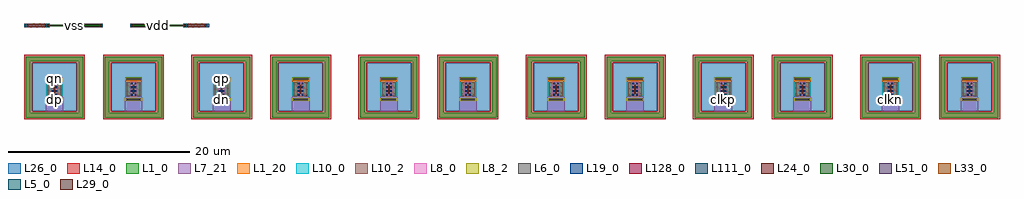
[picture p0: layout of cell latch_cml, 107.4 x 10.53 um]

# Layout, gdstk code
import gdstk
lib = gdstk.Library(unit=1e-6, precision=1e-09)
def R(c, l, rs):  # rectangles x0, y0, x1, y1
    for r in rs: c.add(gdstk.rectangle(r[:2], r[2:], *l))
def A(c, l, x, y, w, h, nx, ny, dx, dy):  # array of equal rectangles
    R(c, l, [(x+i*dx, y+j*dy, x+i*dx+w, y+j*dy+h) for i in range(nx) for j in range(ny)])
def P(c, l, *ps):  # polygons
    for p in ps: c.add(gdstk.Polygon(p, *l))
L1_0 = (1, 0)
L1_20 = (1, 20)
L5_0 = (5, 0)
L6_0 = (6, 0)
L7_21 = (7, 21)
L8_0 = (8, 0)
L8_2 = (8, 2)
L10_0 = (10, 0)
L10_2 = (10, 2)
L14_0 = (14, 0)
L19_0 = (19, 0)
L24_0 = (24, 0)
L26_0 = (26, 0)
L29_0 = (29, 0)
L30_0 = (30, 0)
L33_0 = (33, 0)
L51_0 = (51, 0)
L111_0 = (111, 0)
L128_0 = (128, 0)

npn13g2_base_cdns_675179 = lib.new_cell('npn13G2_base_CDNS_675179387640')
R(npn13g2_base_cdns_675179, L1_0, [(-0.925,-1.28,0.925,-0.98)])
P(npn13g2_base_cdns_675179, L1_20, [(-0.925,-0.98),(-0.925,0.62),(-0.445,0.62),(-0.235,0.83),(0.235,0.83),(0.445,0.62),(0.925,0.62),(0.925,-0.98)])
R(npn13g2_base_cdns_675179, L6_0, [(-0.825,-1.21,0.825,-1.05), (-0.76,1.06,0.76,1.22)])
P(npn13g2_base_cdns_675179, L7_21, [(-0.305,-0.94),(-0.555,-0.69),(-0.555,0.48),(-0.975,0.9),(-0.975,2.43),(0.975,2.43),(0.975,0.9),(0.555,0.48),(0.555,-0.69),(0.305,-0.94)])
R(npn13g2_base_cdns_675179, L8_0, [(-0.925,-1.25,0.925,-1.01), (-0.35,-0.77,0.35,0.785), (-0.975,1.02,0.975,1.26)])
R(npn13g2_base_cdns_675179, L10_0, [(-0.925,-0.77,0.925,0.785)])
A(npn13g2_base_cdns_675179, L19_0, -0.3, -0.7, 0.19, 0.19, 1, 4, 0, 0.41)
A(npn13g2_base_cdns_675179, L19_0, 0.11, -0.7, 0.19, 0.19, 1, 4, 0, 0.41)
R(npn13g2_base_cdns_675179, L33_0, [(-0.035,-0.45,0.035,0.45), (-0.035,-0.45,0.035,0.45)])
R(npn13g2_base_cdns_675179, L51_0, [(-0.085,-0.5,0.085,0.5)])
npn13g2_base_cdns_675179.add(gdstk.Label('npn13G2', (0.015,-2.31), layer=63, texttype=0))
npn13g2_base_cdns_675179.add(gdstk.Label('npn13G2_base', (0,0), layer=51, texttype=0))

npn13g2 = lib.new_cell('npn13G2')
P(npn13g2, L1_0, [(-3.15,-3.13),(-3.15,3.58),(2.65,3.58),(2.65,3.08),(-2.65,3.08),(-2.65,-2.63),(2.65,-2.63),(2.65,3.58),(3.15,3.58),(3.15,-3.13)])
R(npn13g2, L8_2, [(-0.965,-1.26,0.975,-1.02), (-0.915,1.01,0.925,1.25)])
R(npn13g2, L10_2, [(-0.745,-0.78,0.745,0.77)])
P(npn13g2, L14_0, [(-3.35,-3.33),(-3.35,3.78),(2.45,3.78),(2.45,2.88),(-2.45,2.88),(-2.45,-2.43),(2.45,-2.43),(2.45,3.78),(3.35,3.78),(3.35,-3.33)])
R(npn13g2, L26_0, [(-2.45,-2.43,2.45,2.88)])
npn13g2.add(gdstk.Reference(npn13g2_base_cdns_675179, (0,0), x_reflection=True))
npn13g2.add(gdstk.Label('Ae=1*1*0.07*0.90', (-1.977,-2.546), layer=63, texttype=0))
npn13g2.add(gdstk.Label('E', (0,-0.005), layer=63, texttype=0))
npn13g2.add(gdstk.Label('B', (0.005,-1.14), layer=63, texttype=0))
npn13g2.add(gdstk.Label('C', (0.005,1.13), layer=63, texttype=0))

xqs1__latch_cml_xqs1 = lib.new_cell('XQs1__latch_cml_XQs1')
xqs1__latch_cml_xqs1.add(gdstk.Reference(npn13g2, (3.35,3.33)))
xqs1__latch_cml_xqs1.add(gdstk.Reference(npn13g2, (12.05,3.33)))

c_npn13g2_base_cdns_675179 = lib.new_cell('npn13G2_base_CDNS_675179387640$1')
R(c_npn13g2_base_cdns_675179, L1_0, [(-0.925,-1.28,0.925,-0.98)])
P(c_npn13g2_base_cdns_675179, L1_20, [(-0.925,-0.98),(-0.925,0.62),(-0.445,0.62),(-0.235,0.83),(0.235,0.83),(0.445,0.62),(0.925,0.62),(0.925,-0.98)])
R(c_npn13g2_base_cdns_675179, L6_0, [(-0.825,-1.21,0.825,-1.05), (-0.76,1.06,0.76,1.22)])
P(c_npn13g2_base_cdns_675179, L7_21, [(-0.305,-0.94),(-0.555,-0.69),(-0.555,0.48),(-0.975,0.9),(-0.975,2.43),(0.975,2.43),(0.975,0.9),(0.555,0.48),(0.555,-0.69),(0.305,-0.94)])
R(c_npn13g2_base_cdns_675179, L8_0, [(-0.925,-1.25,0.925,-1.01), (-0.35,-0.77,0.35,0.785), (-0.975,1.02,0.975,1.26)])
R(c_npn13g2_base_cdns_675179, L10_0, [(-0.925,-0.77,0.925,0.785)])
A(c_npn13g2_base_cdns_675179, L19_0, -0.3, -0.7, 0.19, 0.19, 1, 4, 0, 0.41)
A(c_npn13g2_base_cdns_675179, L19_0, 0.11, -0.7, 0.19, 0.19, 1, 4, 0, 0.41)
R(c_npn13g2_base_cdns_675179, L33_0, [(-0.035,-0.45,0.035,0.45), (-0.035,-0.45,0.035,0.45)])
R(c_npn13g2_base_cdns_675179, L51_0, [(-0.085,-0.5,0.085,0.5)])
c_npn13g2_base_cdns_675179.add(gdstk.Label('npn13G2', (0.015,-2.31), layer=63, texttype=0))
c_npn13g2_base_cdns_675179.add(gdstk.Label('npn13G2_base', (0,0), layer=51, texttype=0))

npn13g2_1 = lib.new_cell('npn13G2$1')
P(npn13g2_1, L1_0, [(-3.15,-3.13),(-3.15,3.58),(2.65,3.58),(2.65,3.08),(-2.65,3.08),(-2.65,-2.63),(2.65,-2.63),(2.65,3.58),(3.15,3.58),(3.15,-3.13)])
R(npn13g2_1, L8_2, [(-0.965,-1.26,0.975,-1.02), (-0.915,1.01,0.925,1.25)])
R(npn13g2_1, L10_2, [(-0.745,-0.78,0.745,0.77)])
P(npn13g2_1, L14_0, [(-3.35,-3.33),(-3.35,3.78),(2.45,3.78),(2.45,2.88),(-2.45,2.88),(-2.45,-2.43),(2.45,-2.43),(2.45,3.78),(3.35,3.78),(3.35,-3.33)])
R(npn13g2_1, L26_0, [(-2.45,-2.43,2.45,2.88)])
npn13g2_1.add(gdstk.Reference(c_npn13g2_base_cdns_675179, (0,0), x_reflection=True))
npn13g2_1.add(gdstk.Label('Ae=1*1*0.07*0.90', (-1.977,-2.546), layer=63, texttype=0))
npn13g2_1.add(gdstk.Label('E', (0,-0.005), layer=63, texttype=0))
npn13g2_1.add(gdstk.Label('B', (0.005,-1.14), layer=63, texttype=0))
npn13g2_1.add(gdstk.Label('C', (0.005,1.13), layer=63, texttype=0))

xqs2__latch_cml_xqs2 = lib.new_cell('XQs2__latch_cml_XQs2')
xqs2__latch_cml_xqs2.add(gdstk.Reference(npn13g2_1, (3.35,3.33)))
xqs2__latch_cml_xqs2.add(gdstk.Reference(npn13g2_1, (12.05,3.33)))

c_npn13g2_base_cdns_675179_ = lib.new_cell('npn13G2_base_CDNS_675179387640$2')
R(c_npn13g2_base_cdns_675179_, L1_0, [(-0.925,-1.28,0.925,-0.98)])
P(c_npn13g2_base_cdns_675179_, L1_20, [(-0.925,-0.98),(-0.925,0.62),(-0.445,0.62),(-0.235,0.83),(0.235,0.83),(0.445,0.62),(0.925,0.62),(0.925,-0.98)])
R(c_npn13g2_base_cdns_675179_, L6_0, [(-0.825,-1.21,0.825,-1.05), (-0.76,1.06,0.76,1.22)])
P(c_npn13g2_base_cdns_675179_, L7_21, [(-0.305,-0.94),(-0.555,-0.69),(-0.555,0.48),(-0.975,0.9),(-0.975,2.43),(0.975,2.43),(0.975,0.9),(0.555,0.48),(0.555,-0.69),(0.305,-0.94)])
R(c_npn13g2_base_cdns_675179_, L8_0, [(-0.925,-1.25,0.925,-1.01), (-0.35,-0.77,0.35,0.785), (-0.975,1.02,0.975,1.26)])
R(c_npn13g2_base_cdns_675179_, L10_0, [(-0.925,-0.77,0.925,0.785)])
A(c_npn13g2_base_cdns_675179_, L19_0, -0.3, -0.7, 0.19, 0.19, 1, 4, 0, 0.41)
A(c_npn13g2_base_cdns_675179_, L19_0, 0.11, -0.7, 0.19, 0.19, 1, 4, 0, 0.41)
R(c_npn13g2_base_cdns_675179_, L33_0, [(-0.035,-0.45,0.035,0.45), (-0.035,-0.45,0.035,0.45)])
R(c_npn13g2_base_cdns_675179_, L51_0, [(-0.085,-0.5,0.085,0.5)])
c_npn13g2_base_cdns_675179_.add(gdstk.Label('npn13G2', (0.015,-2.31), layer=63, texttype=0))
c_npn13g2_base_cdns_675179_.add(gdstk.Label('npn13G2_base', (0,0), layer=51, texttype=0))

npn13g2_2 = lib.new_cell('npn13G2$2')
P(npn13g2_2, L1_0, [(-3.15,-3.13),(-3.15,3.58),(2.65,3.58),(2.65,3.08),(-2.65,3.08),(-2.65,-2.63),(2.65,-2.63),(2.65,3.58),(3.15,3.58),(3.15,-3.13)])
R(npn13g2_2, L8_2, [(-0.965,-1.26,0.975,-1.02), (-0.915,1.01,0.925,1.25)])
R(npn13g2_2, L10_2, [(-0.745,-0.78,0.745,0.77)])
P(npn13g2_2, L14_0, [(-3.35,-3.33),(-3.35,3.78),(2.45,3.78),(2.45,2.88),(-2.45,2.88),(-2.45,-2.43),(2.45,-2.43),(2.45,3.78),(3.35,3.78),(3.35,-3.33)])
R(npn13g2_2, L26_0, [(-2.45,-2.43,2.45,2.88)])
npn13g2_2.add(gdstk.Reference(c_npn13g2_base_cdns_675179_, (0,0), x_reflection=True))
npn13g2_2.add(gdstk.Label('Ae=1*1*0.07*0.90', (-1.977,-2.546), layer=63, texttype=0))
npn13g2_2.add(gdstk.Label('E', (0,-0.005), layer=63, texttype=0))
npn13g2_2.add(gdstk.Label('B', (0.005,-1.14), layer=63, texttype=0))
npn13g2_2.add(gdstk.Label('C', (0.005,1.13), layer=63, texttype=0))

xqh1__latch_cml_xqh1 = lib.new_cell('XQh1__latch_cml_XQh1')
xqh1__latch_cml_xqh1.add(gdstk.Reference(npn13g2_2, (3.35,3.33)))
xqh1__latch_cml_xqh1.add(gdstk.Reference(npn13g2_2, (12.05,3.33)))

c_npn13g2_base_cdns_675179__ = lib.new_cell('npn13G2_base_CDNS_675179387640$3')
R(c_npn13g2_base_cdns_675179__, L1_0, [(-0.925,-1.28,0.925,-0.98)])
P(c_npn13g2_base_cdns_675179__, L1_20, [(-0.925,-0.98),(-0.925,0.62),(-0.445,0.62),(-0.235,0.83),(0.235,0.83),(0.445,0.62),(0.925,0.62),(0.925,-0.98)])
R(c_npn13g2_base_cdns_675179__, L6_0, [(-0.825,-1.21,0.825,-1.05), (-0.76,1.06,0.76,1.22)])
P(c_npn13g2_base_cdns_675179__, L7_21, [(-0.305,-0.94),(-0.555,-0.69),(-0.555,0.48),(-0.975,0.9),(-0.975,2.43),(0.975,2.43),(0.975,0.9),(0.555,0.48),(0.555,-0.69),(0.305,-0.94)])
R(c_npn13g2_base_cdns_675179__, L8_0, [(-0.925,-1.25,0.925,-1.01), (-0.35,-0.77,0.35,0.785), (-0.975,1.02,0.975,1.26)])
R(c_npn13g2_base_cdns_675179__, L10_0, [(-0.925,-0.77,0.925,0.785)])
A(c_npn13g2_base_cdns_675179__, L19_0, -0.3, -0.7, 0.19, 0.19, 1, 4, 0, 0.41)
A(c_npn13g2_base_cdns_675179__, L19_0, 0.11, -0.7, 0.19, 0.19, 1, 4, 0, 0.41)
R(c_npn13g2_base_cdns_675179__, L33_0, [(-0.035,-0.45,0.035,0.45), (-0.035,-0.45,0.035,0.45)])
R(c_npn13g2_base_cdns_675179__, L51_0, [(-0.085,-0.5,0.085,0.5)])
c_npn13g2_base_cdns_675179__.add(gdstk.Label('npn13G2', (0.015,-2.31), layer=63, texttype=0))
c_npn13g2_base_cdns_675179__.add(gdstk.Label('npn13G2_base', (0,0), layer=51, texttype=0))

npn13g2_3 = lib.new_cell('npn13G2$3')
P(npn13g2_3, L1_0, [(-3.15,-3.13),(-3.15,3.58),(2.65,3.58),(2.65,3.08),(-2.65,3.08),(-2.65,-2.63),(2.65,-2.63),(2.65,3.58),(3.15,3.58),(3.15,-3.13)])
R(npn13g2_3, L8_2, [(-0.965,-1.26,0.975,-1.02), (-0.915,1.01,0.925,1.25)])
R(npn13g2_3, L10_2, [(-0.745,-0.78,0.745,0.77)])
P(npn13g2_3, L14_0, [(-3.35,-3.33),(-3.35,3.78),(2.45,3.78),(2.45,2.88),(-2.45,2.88),(-2.45,-2.43),(2.45,-2.43),(2.45,3.78),(3.35,3.78),(3.35,-3.33)])
R(npn13g2_3, L26_0, [(-2.45,-2.43,2.45,2.88)])
npn13g2_3.add(gdstk.Reference(c_npn13g2_base_cdns_675179__, (0,0), x_reflection=True))
npn13g2_3.add(gdstk.Label('Ae=1*1*0.07*0.90', (-1.977,-2.546), layer=63, texttype=0))
npn13g2_3.add(gdstk.Label('E', (0,-0.005), layer=63, texttype=0))
npn13g2_3.add(gdstk.Label('B', (0.005,-1.14), layer=63, texttype=0))
npn13g2_3.add(gdstk.Label('C', (0.005,1.13), layer=63, texttype=0))

xqh2__latch_cml_xqh2 = lib.new_cell('XQh2__latch_cml_XQh2')
xqh2__latch_cml_xqh2.add(gdstk.Reference(npn13g2_3, (3.35,3.33)))
xqh2__latch_cml_xqh2.add(gdstk.Reference(npn13g2_3, (12.05,3.33)))

c_npn13g2_base_cdns_675179___ = lib.new_cell('npn13G2_base_CDNS_675179387640$4')
R(c_npn13g2_base_cdns_675179___, L1_0, [(-0.925,-1.28,0.925,-0.98)])
P(c_npn13g2_base_cdns_675179___, L1_20, [(-0.925,-0.98),(-0.925,0.62),(-0.445,0.62),(-0.235,0.83),(0.235,0.83),(0.445,0.62),(0.925,0.62),(0.925,-0.98)])
R(c_npn13g2_base_cdns_675179___, L6_0, [(-0.825,-1.21,0.825,-1.05), (-0.76,1.06,0.76,1.22)])
P(c_npn13g2_base_cdns_675179___, L7_21, [(-0.305,-0.94),(-0.555,-0.69),(-0.555,0.48),(-0.975,0.9),(-0.975,2.43),(0.975,2.43),(0.975,0.9),(0.555,0.48),(0.555,-0.69),(0.305,-0.94)])
R(c_npn13g2_base_cdns_675179___, L8_0, [(-0.925,-1.25,0.925,-1.01), (-0.35,-0.77,0.35,0.785), (-0.975,1.02,0.975,1.26)])
R(c_npn13g2_base_cdns_675179___, L10_0, [(-0.925,-0.77,0.925,0.785)])
A(c_npn13g2_base_cdns_675179___, L19_0, -0.3, -0.7, 0.19, 0.19, 1, 4, 0, 0.41)
A(c_npn13g2_base_cdns_675179___, L19_0, 0.11, -0.7, 0.19, 0.19, 1, 4, 0, 0.41)
R(c_npn13g2_base_cdns_675179___, L33_0, [(-0.035,-0.45,0.035,0.45), (-0.035,-0.45,0.035,0.45)])
R(c_npn13g2_base_cdns_675179___, L51_0, [(-0.085,-0.5,0.085,0.5)])
c_npn13g2_base_cdns_675179___.add(gdstk.Label('npn13G2', (0.015,-2.31), layer=63, texttype=0))
c_npn13g2_base_cdns_675179___.add(gdstk.Label('npn13G2_base', (0,0), layer=51, texttype=0))

npn13g2_4 = lib.new_cell('npn13G2$4')
P(npn13g2_4, L1_0, [(-3.15,-3.13),(-3.15,3.58),(2.65,3.58),(2.65,3.08),(-2.65,3.08),(-2.65,-2.63),(2.65,-2.63),(2.65,3.58),(3.15,3.58),(3.15,-3.13)])
R(npn13g2_4, L8_2, [(-0.965,-1.26,0.975,-1.02), (-0.915,1.01,0.925,1.25)])
R(npn13g2_4, L10_2, [(-0.745,-0.78,0.745,0.77)])
P(npn13g2_4, L14_0, [(-3.35,-3.33),(-3.35,3.78),(2.45,3.78),(2.45,2.88),(-2.45,2.88),(-2.45,-2.43),(2.45,-2.43),(2.45,3.78),(3.35,3.78),(3.35,-3.33)])
R(npn13g2_4, L26_0, [(-2.45,-2.43,2.45,2.88)])
npn13g2_4.add(gdstk.Reference(c_npn13g2_base_cdns_675179___, (0,0), x_reflection=True))
npn13g2_4.add(gdstk.Label('Ae=1*1*0.07*0.90', (-1.977,-2.546), layer=63, texttype=0))
npn13g2_4.add(gdstk.Label('E', (0,-0.005), layer=63, texttype=0))
npn13g2_4.add(gdstk.Label('B', (0.005,-1.14), layer=63, texttype=0))
npn13g2_4.add(gdstk.Label('C', (0.005,1.13), layer=63, texttype=0))

xqts__latch_cml_xqts = lib.new_cell('XQts__latch_cml_XQts')
xqts__latch_cml_xqts.add(gdstk.Reference(npn13g2_4, (3.35,3.33)))
xqts__latch_cml_xqts.add(gdstk.Reference(npn13g2_4, (12.05,3.33)))

c_npn13g2_base_cdns_675179____ = lib.new_cell('npn13G2_base_CDNS_675179387640$5')
R(c_npn13g2_base_cdns_675179____, L1_0, [(-0.925,-1.28,0.925,-0.98)])
P(c_npn13g2_base_cdns_675179____, L1_20, [(-0.925,-0.98),(-0.925,0.62),(-0.445,0.62),(-0.235,0.83),(0.235,0.83),(0.445,0.62),(0.925,0.62),(0.925,-0.98)])
R(c_npn13g2_base_cdns_675179____, L6_0, [(-0.825,-1.21,0.825,-1.05), (-0.76,1.06,0.76,1.22)])
P(c_npn13g2_base_cdns_675179____, L7_21, [(-0.305,-0.94),(-0.555,-0.69),(-0.555,0.48),(-0.975,0.9),(-0.975,2.43),(0.975,2.43),(0.975,0.9),(0.555,0.48),(0.555,-0.69),(0.305,-0.94)])
R(c_npn13g2_base_cdns_675179____, L8_0, [(-0.925,-1.25,0.925,-1.01), (-0.35,-0.77,0.35,0.785), (-0.975,1.02,0.975,1.26)])
R(c_npn13g2_base_cdns_675179____, L10_0, [(-0.925,-0.77,0.925,0.785)])
A(c_npn13g2_base_cdns_675179____, L19_0, -0.3, -0.7, 0.19, 0.19, 1, 4, 0, 0.41)
A(c_npn13g2_base_cdns_675179____, L19_0, 0.11, -0.7, 0.19, 0.19, 1, 4, 0, 0.41)
R(c_npn13g2_base_cdns_675179____, L33_0, [(-0.035,-0.45,0.035,0.45), (-0.035,-0.45,0.035,0.45)])
R(c_npn13g2_base_cdns_675179____, L51_0, [(-0.085,-0.5,0.085,0.5)])
c_npn13g2_base_cdns_675179____.add(gdstk.Label('npn13G2', (0.015,-2.31), layer=63, texttype=0))
c_npn13g2_base_cdns_675179____.add(gdstk.Label('npn13G2_base', (0,0), layer=51, texttype=0))

npn13g2_5 = lib.new_cell('npn13G2$5')
P(npn13g2_5, L1_0, [(-3.15,-3.13),(-3.15,3.58),(2.65,3.58),(2.65,3.08),(-2.65,3.08),(-2.65,-2.63),(2.65,-2.63),(2.65,3.58),(3.15,3.58),(3.15,-3.13)])
R(npn13g2_5, L8_2, [(-0.965,-1.26,0.975,-1.02), (-0.915,1.01,0.925,1.25)])
R(npn13g2_5, L10_2, [(-0.745,-0.78,0.745,0.77)])
P(npn13g2_5, L14_0, [(-3.35,-3.33),(-3.35,3.78),(2.45,3.78),(2.45,2.88),(-2.45,2.88),(-2.45,-2.43),(2.45,-2.43),(2.45,3.78),(3.35,3.78),(3.35,-3.33)])
R(npn13g2_5, L26_0, [(-2.45,-2.43,2.45,2.88)])
npn13g2_5.add(gdstk.Reference(c_npn13g2_base_cdns_675179____, (0,0), x_reflection=True))
npn13g2_5.add(gdstk.Label('Ae=1*1*0.07*0.90', (-1.977,-2.546), layer=63, texttype=0))
npn13g2_5.add(gdstk.Label('E', (0,-0.005), layer=63, texttype=0))
npn13g2_5.add(gdstk.Label('B', (0.005,-1.14), layer=63, texttype=0))
npn13g2_5.add(gdstk.Label('C', (0.005,1.13), layer=63, texttype=0))

xqth__latch_cml_xqth = lib.new_cell('XQth__latch_cml_XQth')
xqth__latch_cml_xqth.add(gdstk.Reference(npn13g2_5, (3.35,3.33)))
xqth__latch_cml_xqth.add(gdstk.Reference(npn13g2_5, (12.05,3.33)))

latch_cml_rts__core = lib.new_cell('latch_cml_Rts__core')
R(latch_cml_rts__core, L5_0, [(0,0,0.42,0.42), (2.42,0,2.84,0.42)])
R(latch_cml_rts__core, L6_0, [(0.13,0.13,0.29,0.29), (2.55,0.13,2.71,0.29)])
R(latch_cml_rts__core, L8_0, [(0,0,0.42,0.42), (2.42,0,2.84,0.42)])
R(latch_cml_rts__core, L24_0, [(0.42,0,2.42,0.42)])
R(latch_cml_rts__core, L111_0, [(0.42,0,2.42,0.42)])
R(latch_cml_rts__core, L128_0, [(0.42,0,2.42,0.42)])

rts__latch_cml_rts = lib.new_cell('Rts__latch_cml_Rts')
rts__latch_cml_rts.add(gdstk.Reference(latch_cml_rts__core, (0,0)))

latch_cml_rth__core = lib.new_cell('latch_cml_Rth__core')
R(latch_cml_rth__core, L5_0, [(0,0,0.42,0.42), (2.42,0,2.84,0.42)])
R(latch_cml_rth__core, L6_0, [(0.13,0.13,0.29,0.29), (2.55,0.13,2.71,0.29)])
R(latch_cml_rth__core, L8_0, [(0,0,0.42,0.42), (2.42,0,2.84,0.42)])
R(latch_cml_rth__core, L24_0, [(0.42,0,2.42,0.42)])
R(latch_cml_rth__core, L111_0, [(0.42,0,2.42,0.42)])
R(latch_cml_rth__core, L128_0, [(0.42,0,2.42,0.42)])

rth__latch_cml_rth = lib.new_cell('Rth__latch_cml_Rth')
rth__latch_cml_rth.add(gdstk.Reference(latch_cml_rth__core, (0,0)))

latch_cml_rlp__core = lib.new_cell('latch_cml_RLp__core')
R(latch_cml_rlp__core, L5_0, [(0,0,0.42,0.42), (2.42,0,2.84,0.42)])
R(latch_cml_rlp__core, L6_0, [(0.13,0.13,0.29,0.29), (2.55,0.13,2.71,0.29)])
R(latch_cml_rlp__core, L8_0, [(0,0,0.42,0.42), (2.42,0,2.84,0.42)])
R(latch_cml_rlp__core, L24_0, [(0.42,0,2.42,0.42)])
R(latch_cml_rlp__core, L111_0, [(0.42,0,2.42,0.42)])
R(latch_cml_rlp__core, L128_0, [(0.42,0,2.42,0.42)])

rlp__latch_cml_rlp = lib.new_cell('RLp__latch_cml_RLp')
rlp__latch_cml_rlp.add(gdstk.Reference(latch_cml_rlp__core, (0,0)))

latch_cml_rln__core = lib.new_cell('latch_cml_RLn__core')
R(latch_cml_rln__core, L5_0, [(0,0,0.42,0.42), (2.42,0,2.84,0.42)])
R(latch_cml_rln__core, L6_0, [(0.13,0.13,0.29,0.29), (2.55,0.13,2.71,0.29)])
R(latch_cml_rln__core, L8_0, [(0,0,0.42,0.42), (2.42,0,2.84,0.42)])
R(latch_cml_rln__core, L24_0, [(0.42,0,2.42,0.42)])
R(latch_cml_rln__core, L111_0, [(0.42,0,2.42,0.42)])
R(latch_cml_rln__core, L128_0, [(0.42,0,2.42,0.42)])

rln__latch_cml_rln = lib.new_cell('RLn__latch_cml_RLn')
rln__latch_cml_rln.add(gdstk.Reference(latch_cml_rln__core, (0,0)))

latch_cml = lib.new_cell('latch_cml')
R(latch_cml, L8_0, [(2.42,10.11,2.84,10.53), (8.26,10.11,8.68,10.53), (11.68,10.11,12.1,10.53), (17.52,10.11,17.94,10.53)])
R(latch_cml, L10_0, [(2.42,10.11,2.84,10.53), (2.42,10.11,2.84,10.53), (8.26,10.11,8.68,10.53), (8.26,10.11,8.68,10.53), (11.68,10.11,12.1,10.53), (11.68,10.11,12.1,10.53), (17.52,10.11,17.94,10.53), (17.52,10.11,17.94,10.53)])
R(latch_cml, L19_0, [(2.535,10.225,2.725,10.415), (8.375,10.225,8.565,10.415), (11.795,10.225,11.985,10.415), (17.635,10.225,17.825,10.415)])
R(latch_cml, L29_0, [(2.535,10.225,2.725,10.415), (8.375,10.225,8.565,10.415), (11.795,10.225,11.985,10.415), (17.635,10.225,17.825,10.415)])
R(latch_cml, L30_0, [(2.42,10.11,2.84,10.53), (8.26,10.11,8.68,10.53), (11.68,10.11,12.1,10.53), (17.52,10.11,17.94,10.53)])
latch_cml.add(gdstk.FlexPath([(11.89,10.32),(17.73,10.32)], 0.2, ends="flush", simple_path=True, layer=30, datatype=0))  # L30_0
latch_cml.add(gdstk.FlexPath([(2.63,10.32),(8.47,10.32)], 0.2, ends="flush", simple_path=True, layer=30, datatype=0))  # L30_0
latch_cml.add(gdstk.Reference(xqs1__latch_cml_xqs1, (0,0)))
latch_cml.add(gdstk.Reference(xqs2__latch_cml_xqs2, (18.4,0)))
latch_cml.add(gdstk.Reference(xqh1__latch_cml_xqh1, (36.8,0)))
latch_cml.add(gdstk.Reference(xqh2__latch_cml_xqh2, (55.2,0)))
latch_cml.add(gdstk.Reference(xqts__latch_cml_xqts, (73.6,0)))
latch_cml.add(gdstk.Reference(xqth__latch_cml_xqth, (92,0)))
latch_cml.add(gdstk.Reference(rts__latch_cml_rts, (0,10.11)))
latch_cml.add(gdstk.Reference(rth__latch_cml_rth, (5.84,10.11)))
latch_cml.add(gdstk.Reference(rlp__latch_cml_rlp, (11.68,10.11)))
latch_cml.add(gdstk.Reference(rln__latch_cml_rln, (17.52,10.11)))
latch_cml.add(gdstk.Label('vdd', (14.81,10.32), layer=30, texttype=25))
latch_cml.add(gdstk.Label('vss', (5.55,10.32), layer=30, texttype=25))
latch_cml.add(gdstk.Label('dp', (3.355,2.19), layer=8, texttype=25))
latch_cml.add(gdstk.Label('dn', (21.755,2.19), layer=8, texttype=25))
latch_cml.add(gdstk.Label('clkp', (76.955,2.19), layer=8, texttype=25))
latch_cml.add(gdstk.Label('clkn', (95.355,2.19), layer=8, texttype=25))
latch_cml.add(gdstk.Label('qp', (21.755,4.46), layer=8, texttype=25))
latch_cml.add(gdstk.Label('qn', (3.355,4.46), layer=8, texttype=25))

lib.write_gds('latch_cml.gds')
